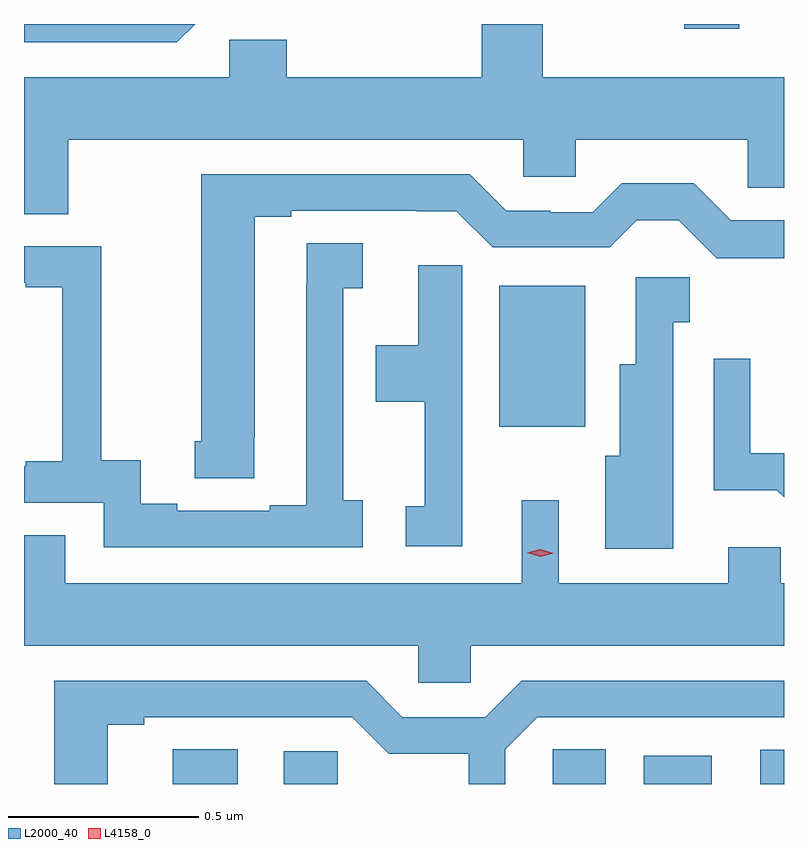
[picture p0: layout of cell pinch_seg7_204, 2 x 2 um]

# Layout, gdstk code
import gdstk
lib = gdstk.Library(unit=1e-6, precision=1e-09)
def R(c, l, rs):  # rectangles x0, y0, x1, y1
    for r in rs: c.add(gdstk.rectangle(r[:2], r[2:], *l))
def P(c, l, *ps):  # polygons
    for p in ps: c.add(gdstk.Polygon(p, *l))
L2000_40 = (2000, 40)
L4158_0 = (4158, 0)

pinch_seg7_204 = lib.new_cell('pinch_seg7_204')
R(pinch_seg7_204, L2000_40, [(1090.631,1034.884,1090.801,1034.975), (1090.923,1034.884,1091.065,1034.97), (1091.631,1034.884,1091.77,1034.975), (1091.87,1034.884,1092.049,1034.958), (1092.176,1034.884,1092.239,1034.974), (1091.489,1035.824,1091.716,1036.195), (1091.977,1036.872,1092.121,1036.884)])
P(pinch_seg7_204, L2000_40, [(1090.689,1036.884),(1090.239,1036.884),(1090.239,1036.836),(1090.641,1036.836)],
  [(1090.356,1036.58),(1091.553,1036.58),(1091.553,1036.482),(1091.691,1036.482),(1091.691,1036.58),(1092.144,1036.58),(1092.144,1036.453),(1092.239,1036.453),(1092.239,1036.744),(1091.604,1036.744),(1091.604,1036.884),(1091.444,1036.884),(1091.444,1036.744),(1090.931,1036.744),(1090.931,1036.842),(1090.779,1036.842),(1090.779,1036.744),(1090.239,1036.744),(1090.239,1036.384),(1090.356,1036.384)],
  [(1090.845,1035.796),(1090.846,1035.796),(1090.846,1036.377),(1090.942,1036.377),(1090.942,1036.392),(1091.273,1036.392),(1091.273,1036.391),(1091.377,1036.391),(1091.472,1036.296),(1091.781,1036.296),(1091.852,1036.368),(1091.962,1036.368),(1092.062,1036.267),(1092.239,1036.267),(1092.239,1036.368),(1092.099,1036.368),(1092.002,1036.465),(1091.812,1036.465),(1091.736,1036.389),(1091.624,1036.389),(1091.624,1036.392),(1091.508,1036.392),(1091.412,1036.488),(1090.706,1036.488),(1090.706,1035.786),(1090.688,1035.786),(1090.688,1035.688),(1090.845,1035.688)],
  [(1091.131,1035.631),(1091.079,1035.631),(1091.079,1036.189),(1091.131,1036.189),(1091.131,1036.307),(1090.983,1036.307),(1090.983,1036.199),(1090.982,1036.199),(1090.982,1035.618),(1090.886,1035.618),(1090.886,1035.603),(1090.642,1035.603),(1090.642,1035.622),(1090.546,1035.622),(1090.546,1035.736),(1090.442,1035.736),(1090.442,1036.299),(1090.239,1036.299),(1090.239,1036.203),(1090.244,1036.203),(1090.244,1036.191),(1090.34,1036.191),(1090.34,1035.733),(1090.244,1035.733),(1090.244,1035.72),(1090.239,1035.72),(1090.239,1035.624),(1090.449,1035.624),(1090.449,1035.507),(1091.131,1035.507)],
  [(1091.392,1036.249),(1091.276,1036.249),(1091.276,1036.038),(1091.164,1036.038),(1091.164,1035.89),(1091.294,1035.89),(1091.294,1035.615),(1091.244,1035.615),(1091.244,1035.51),(1091.392,1035.51)],
  [(1091.947,1036.099),(1091.991,1036.099),(1091.991,1036.218),(1091.849,1036.218),(1091.849,1035.988),(1091.807,1035.988),(1091.807,1035.748),(1091.768,1035.748),(1091.768,1035.503),(1091.947,1035.503)],
  [(1092.239,1035.755),(1092.15,1035.755),(1092.15,1036.003),(1092.054,1036.003),(1092.054,1035.657),(1092.22,1035.657),(1092.239,1035.638)],
  [(1090.348,1035.539),(1090.239,1035.539),(1090.239,1035.248),(1091.277,1035.248),(1091.277,1035.15),(1091.415,1035.15),(1091.415,1035.248),(1092.239,1035.248),(1092.239,1035.412),(1092.231,1035.412),(1092.231,1035.507),(1092.092,1035.507),(1092.092,1035.412),(1091.646,1035.412),(1091.646,1035.631),(1091.549,1035.631),(1091.549,1035.412),(1090.348,1035.412)],
  [(1090.459,1035.04),(1090.555,1035.04),(1090.555,1035.06),(1091.103,1035.06),(1091.199,1034.964),(1091.409,1034.964),(1091.409,1034.884),(1091.505,1034.884),(1091.505,1034.976),(1091.589,1035.06),(1092.239,1035.06),(1092.239,1035.156),(1091.549,1035.156),(1091.453,1035.06),(1091.235,1035.06),(1091.139,1035.156),(1090.319,1035.156),(1090.319,1034.884),(1090.459,1034.884)])
P(pinch_seg7_204, L4158_0, [(1091.598,1035.482),(1091.563,1035.492),(1091.562,1035.492),(1091.563,1035.492),(1091.598,1035.502),(1091.633,1035.491),(1091.633,1035.491),(1091.633,1035.491)])

lib.write_gds('pinch_seg7_204.gds')
